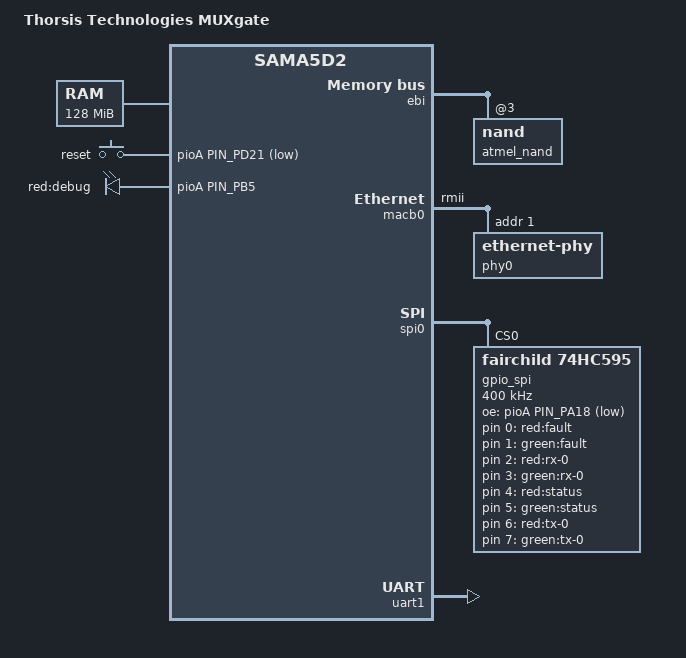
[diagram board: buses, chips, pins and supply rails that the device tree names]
/*
 * at91-muxgate.dts – Device Tree file for Thorsis Technologies MUXgate board
 *
 * © 2020 Thorsis Technologies GmbH
 */
/dts-v1/;
#include "sama5d2.dtsi"
#include "sama5d2-pinfunc.h"
#include <dt-bindings/gpio/gpio.h>
#include <dt-bindings/input/input.h>
#include <dt-bindings/pinctrl/at91.h>

/ {
	model = "Thorsis Technologies MUXgate";
	compatible = "thorsis,muxgate", "atmel,sama5d27", "atmel,sama5d2", "atmel,sama5";

	chosen {
		stdout-path = &uart1;
	};

	memory {
		reg = <0x20000000 0x08000000>;
	};

	gpio-keys {
		compatible = "gpio-keys";
		status = "okay";

		pinctrl-names = "default";
		pinctrl-0 = <&pinctrl_key_gpio_default>;

		reset {
			label = "reset";
			gpios = <&pioA PIN_PD21 GPIO_ACTIVE_LOW>;
			linux,code = <KEY_RESTART>;
			debounce-interval = <60>;
		};
	};

	led-controller-0 {
		compatible = "gpio-leds";
		status = "okay";

		/*
		 * Four dual color (red/green) LEDs connected to the
		 * 74xx595 shift register.
		 *
		 * NOTE	If you switch ON both colors of the same LED,
		 *	it will go off. We're just misusing the
		 *	gpio-leds driver here for simplicity.
		 *
		 * Front view of the case, 'o' are the LEDs, numbers the
		 * bit positions, chars the labels.
		 *
		 * +-----------+
		 * |           |
		 * |           |
		 * | ST     Tx |
		 * | 45 o o 67 |
		 * | 01 o o 23 |
		 * | Err    Rx |
		 * |           |
		 * |           |
		 * +-----------+
		 */

		led-0 {
			label = "red:fault";
			gpios = <&gpio_spi 0 GPIO_ACTIVE_HIGH>;
			default-state = "off";
		};

		led-1 {
			label = "green:fault";
			gpios = <&gpio_spi 1 GPIO_ACTIVE_HIGH>;
			default-state = "off";
		};

		led-2 {
			label = "red:rx-0";
			gpios = <&gpio_spi 2 GPIO_ACTIVE_HIGH>;
			default-state = "off";
		};

		led-3 {
			label = "green:rx-0";
			gpios = <&gpio_spi 3 GPIO_ACTIVE_HIGH>;
			default-state = "off";
		};

		led-4 {
			label = "red:status";
			gpios = <&gpio_spi 4 GPIO_ACTIVE_HIGH>;
			default-state = "off";
		};

		led-5 {
			label = "green:status";
			gpios = <&gpio_spi 5 GPIO_ACTIVE_HIGH>;
			default-state = "off";
		};

		led-6 {
			label = "red:tx-0";
			gpios = <&gpio_spi 6 GPIO_ACTIVE_HIGH>;
			default-state = "off";
		};

		led-7 {
			label = "green:tx-0";
			gpios = <&gpio_spi 7 GPIO_ACTIVE_HIGH>;
			default-state = "off";
		};

		/*
		 * maybe not populated on PCB
		 * (this led could use pwm, but we use it as simple gpio-led in u-boot only.)
		 */
		led-8 {
			label = "red:debug";
			gpios = <&pioA PIN_PB5 GPIO_ACTIVE_HIGH>;
			default-state = "keep";
		};
	};
};

&ebi {
	pinctrl-names = "default";
	pinctrl-0 = <&pinctrl_nand_default>;
	status = "okay";

	nand_controller: nand-controller {
		status = "okay";

		nand@3 {
			reg = <0x3 0x0 0x800000>;
			atmel,rb = <0>;

			nand-bus-width = <8>;
			nand-ecc-mode = "hw";
			nand-on-flash-bbt;
			nand-ecc-strength = <8>;
			nand-ecc-step-size = <512>;
			label = "atmel_nand";
		};
	};
};

&macb0 {
	pinctrl-names = "default";
	pinctrl-0 = <&pinctrl_macb0_default>;
	phy-mode = "rmii";
	status = "okay";

	phy0: ethernet-phy@1 {
		reg = <1>;
	};
};

&pioA {
	pinctrl_key_gpio_default: key_gpio_default {
		pinmux = <PIN_PD21__GPIO>;
		bias-disable;
	};

	pinctrl_macb0_default: macb0_default {
		pinmux = <PIN_PC10__GTXCK>,
			 <PIN_PC11__GTXEN>,
			 <PIN_PC12__GRXDV>,
			 <PIN_PC13__GRXER>,
			 <PIN_PC14__GRX0>,
			 <PIN_PC15__GRX1>,
			 <PIN_PC16__GTX0>,
			 <PIN_PC17__GTX1>,
			 <PIN_PC18__GMDC>,
			 <PIN_PC19__GMDIO>;
		bias-disable;
	};

	pinctrl_nand_default: nand_default {
		rd_we_data {
			pinmux = <PIN_PA22__D0>,
				 <PIN_PA23__D1>,
				 <PIN_PA24__D2>,
				 <PIN_PA25__D3>,
				 <PIN_PA26__D4>,
				 <PIN_PA27__D5>,
				 <PIN_PA28__D6>,
				 <PIN_PA29__D7>,
				 <PIN_PA30__NWE_NANDWE>,
				 <PIN_PB2__NRD_NANDOE>;
			bias-disable;
			atmel,drive-strength = <ATMEL_PIO_DRVSTR_ME>;
		};

		ale_cle_rdy_cs {
			pinmux = <PIN_PB0__A21_NANDALE>,
				 <PIN_PB1__A22_NANDCLE>,
				 <PIN_PC8__NANDRDY>,
				 <PIN_PA31__NCS3>;
			bias-pull-up;
		};
	};

	pinctrl_spi0_default: spi0_default {
		pinmux = <PIN_PA14__SPI0_SPCK>,  /* LED_SCK  */
			 <PIN_PA15__SPI0_MOSI>,  /* LED_MOSI */
			 <PIN_PA16__SPI0_MISO>,  /* n.c.     */
			 <PIN_PA17__SPI0_NPCS0>, /* LED_CS   */
			 <PIN_PA18__GPIO>;       /* LED_/OE  */
		bias-disable;
	};

	pinctrl_uart1_default: uart1_default {
		pinmux = <PIN_PD2__URXD1>,
			 <PIN_PD3__UTXD1>;
		bias-disable;
	};
};

&spi0 {
	pinctrl-names = "default";
	pinctrl-0 = <&pinctrl_spi0_default>;
	status = "okay";

	gpio_spi: gpio@0 {
		compatible = "fairchild,74hc595";
		reg = <0>;
		gpio-controller;
		#gpio-cells = <2>;
		registers-number = <1>;
		/*
		 * periph clock 82 MHz / max.  SCBR 255 demands at least
		 * <321569> or changing periph clock rate …
		 */
		spi-max-frequency = <400000>;
		oe-gpios = <&pioA PIN_PA18 GPIO_ACTIVE_LOW>;
	};
};

&uart1 {
	pinctrl-names = "default";
	pinctrl-0 = <&pinctrl_uart1_default>;
	status = "okay";
};
